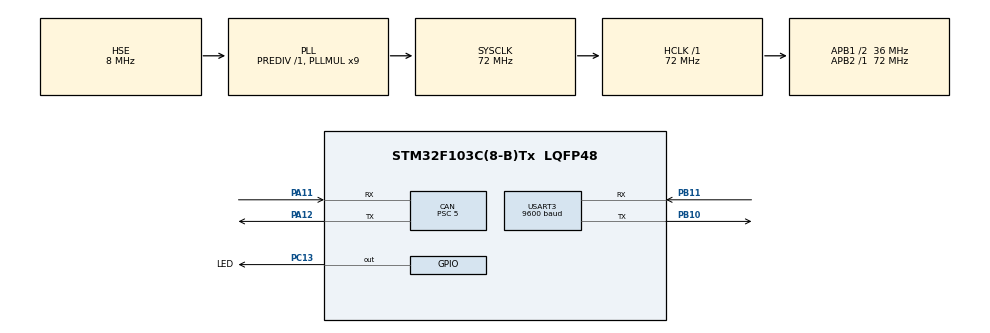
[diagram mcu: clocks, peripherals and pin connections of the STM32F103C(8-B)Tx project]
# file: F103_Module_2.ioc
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CAN.BS1=CAN_BS1_10TQ
CAN.BS2=CAN_BS2_5TQ
CAN.CalculateBaudRate=450000
CAN.CalculateTimeBit=2222
CAN.CalculateTimeQuantum=138.88888888888889
CAN.Prescaler=5
Mcu.Family=STM32F1
Mcu.Name=STM32F103C(8-B)Tx
Mcu.Package=LQFP48
NVIC.PriorityGroup=NVIC_PRIORITYGROUP_4
PA11.Mode=CAN_Activate
PA11.Signal=CAN_RX
PA12.Mode=CAN_Activate
PA12.Signal=CAN_TX
PB10.Mode=Asynchronous
PB10.Signal=USART3_TX
PB11.Mode=Asynchronous
PB11.Signal=USART3_RX
PC13-TAMPER-RTC.GPIO_Label=LED
PC13-TAMPER-RTC.Signal=GPIO_Output
PD0-OSC_IN.Mode=HSE-External-Oscillator
PD0-OSC_IN.Signal=RCC_OSC_IN
PD1-OSC_OUT.Mode=HSE-External-Oscillator
PD1-OSC_OUT.Signal=RCC_OSC_OUT
ProjectManager.HeapSize=0x200
ProjectManager.StackSize=0x400
ProjectManager.TargetToolchain=STM32CubeIDE
RCC.AHBFreq_Value=72000000
RCC.APB1CLKDivider=RCC_HCLK_DIV2
RCC.APB1Freq_Value=36000000
RCC.APB1TimFreq_Value=72000000
RCC.APB2Freq_Value=72000000
RCC.APB2TimFreq_Value=72000000
RCC.HCLKFreq_Value=72000000
RCC.PLLMUL=RCC_PLL_MUL9
RCC.PLLSourceVirtual=RCC_PLLSOURCE_HSE
RCC.SYSCLKFreq_VALUE=72000000
RCC.SYSCLKSource=RCC_SYSCLKSOURCE_PLLCLK
RCC.USBFreq_Value=72000000
USART3.BaudRate=9600
USART3.VirtualMode=VM_ASYNC
board=custom

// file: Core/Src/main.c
/* USER CODE BEGIN Header */
/**
  ******************************************************************************
  * @file           : main.c
  * @brief          : Main program body
  ******************************************************************************
  * @attention
  *
  * Copyright (c) 2024 STMicroelectronics.
  * All rights reserved.
  *
  * This software is licensed under terms that can be found in the LICENSE file
  * in the root directory of this software component.
  * If no LICENSE file comes with this software, it is provided AS-IS.
  *
  ******************************************************************************
  */
/* USER CODE END Header */
#include "main.h"

/* USER CODE BEGIN Includes */
#include <math.h>
#include<stdio.h>
#include<string.h>
#include<stdlib.h>

/* USER CODE END Includes */

CAN_HandleTypeDef hcan;

UART_HandleTypeDef huart3;

/* USER CODE BEGIN PV */
typedef struct fixedStransmission
{
	uint8_t ADDH;
	uint8_t ADDL;
	uint8_t CHAN;
	unsigned char message[];
}FixedStransmission;
FixedStransmission *init_stack(int m){
	FixedStransmission *st = (FixedStransmission *)malloc(sizeof(FixedStransmission)+m*sizeof(int));
    return st;
}
int sizedata;

uint32_t TxMailbox;

uint8_t Package8_1[8];
uint8_t Package8_2[8];
uint8_t Package8_3[8];
uint8_t Package8_4[8];
uint8_t dataReceive[8];

float Package1[8];
float Package2[8];
float Package3[8];
float Package4[8];

float temp=0.00;
int i = 0;
int gps_satallite;
int gps_speed;

/* USER CODE END PV */

void SystemClock_Config(void);
static void MX_GPIO_Init(void);
static void MX_CAN_Init(void);
static void MX_USART3_UART_Init(void);
/* USER CODE BEGIN PFP */
void sendFixedMessage( uint8_t ADDH,uint8_t ADDL, uint8_t CHAN, const void *message, const uint8_t size);
double Thermistor(uint8_t value){
 uint16_t analogValue = value*16;
 double temperature;
 temperature = log(((40950000 / analogValue) - 10000));
 temperature = 1 / (0.001129148 + (0.000234125 + (0.0000000876741 * temperature * temperature)) * temperature);
 temperature = temperature - 273.15;
 return temperature;
}
/* USER CODE END PFP */

/* USER CODE BEGIN 0 */
struct carData{
	  float voltage1;
	  float voltage2;
	  float voltage3;
	  float voltage4;
	  float voltage5;
	  float voltage6;
	  float voltage7;
	  float voltage8;
	  float voltage9;
	  float voltage10;
	  float voltage11;
	  float voltage12;
	  float voltage13;
	  float voltage14;
	  float voltage15;
	  float voltage16;
	  float voltage17;
	  float voltage18;
	  float voltage19;
	  float voltage20;
	  float totalVoltage;
	  float batteryTemp1;
	  float batteryTemp2;
	  float batteryTemp3;
	  float batteryTemp4;
	  float testTemp;
	  float motorTemp;
	  float speed;
	  float current;
	  float remainEnergy;
}data1;

CAN_RxHeaderTypeDef RxHeader[4];
CAN_TxHeaderTypeDef TxHeader[1];

/* USER CODE END 0 */

int main(void)
{

  /* MCU Configuration--------------------------------------------------------*/

  /* Reset of all peripherals, Initializes the Flash interface and the Systick. */
  HAL_Init();

  /* Configure the system clock */
  SystemClock_Config();

  /* Initialize all configured peripherals */
  MX_GPIO_Init();
  MX_CAN_Init();
  MX_USART3_UART_Init();
  /* USER CODE BEGIN 2 */
  HAL_CAN_Start(&hcan);

  TxHeader[0].DLC = 8;
  TxHeader[0].IDE = CAN_ID_EXT;
  TxHeader[0].RTR = CAN_RTR_DATA;
  TxHeader[0].ExtId = 0x12345678;

  /* USER CODE END 2 */

  /* Infinite loop */
  while (1)
  {

    /* USER CODE BEGIN 3 */

	  HAL_GPIO_WritePin(LED_GPIO_Port, LED_Pin, 1);
	  HAL_CAN_GetRxMessage(&hcan, CAN_RX_FIFO0, &RxHeader[0], dataReceive);
	  HAL_Delay(10);
	  if(RxHeader[0].ExtId == 0x0CFFFFFF){
		  HAL_GPIO_WritePin(LED_GPIO_Port, LED_Pin, 0);
		  HAL_Delay(50);
		  for(i=0;i<=7;i++){
			  Package8_1[i] = dataReceive[i];
		  }
	  }
	  HAL_CAN_GetRxMessage(&hcan, CAN_RX_FIFO0, &RxHeader[1], dataReceive);
	  HAL_Delay(10);
	  if(RxHeader[1].ExtId == 0x0DFFFFFF){
	  HAL_GPIO_WritePin(LED_GPIO_Port, LED_Pin, 0);
		  for(i=0;i<=7;i++){
			  Package8_2[i] = dataReceive[i];
		  }
	  }
	  HAL_CAN_GetRxMessage(&hcan, CAN_RX_FIFO0, &RxHeader[2], dataReceive);
	  HAL_Delay(10);
	  if(RxHeader[2].ExtId == 0x0EFFFFFF){
	  HAL_GPIO_WritePin(LED_GPIO_Port, LED_Pin, 0);
	  //HAL_Delay(50);
		  for(i=0;i<=7;i++){
			  Package8_3[i] = dataReceive[i];
		  }
	  }
	  HAL_CAN_GetRxMessage(&hcan, CAN_RX_FIFO0, &RxHeader[3], dataReceive);
	  HAL_Delay(10);
	  if(RxHeader[3].ExtId == 0x0FFFFFFF){
	  HAL_GPIO_WritePin(LED_GPIO_Port, LED_Pin, 0);
	  //HAL_Delay(50);
		  for(i=0;i<=7;i++){
			  Package8_4[i] = dataReceive[i];
		  }
	  }
	  //temp = Thermistor(2100);

	  for(i=0;i<=7;i++){
	  		  Package1[i] = Thermistor(Package8_1[i]);
	  		  Package2[i] = Thermistor(Package8_2[i]);
	  		  Package3[i] = Thermistor(Package8_3[i]);

	  		  //Package4[i] = Thermistor(Package8_4[i]*16);
	  	  }
	  	  Package3[4] = Package8_3[4]*84/255;
	  	  Package4[0] = Thermistor(Package8_4[0]);
	  	  Package4[1] = Thermistor(Package8_4[1]);
	  	  Package4[2] = Thermistor(Package8_4[2]);
	  	  Package4[3] = Package8_4[3];
	  	  Package4[4] = Thermistor(Package8_4[4]);
	  	  Package4[5] = Package8_4[5];

	  	  data1.voltage1 = Package1[0];
		  data1.voltage2 = Package1[1];
		  data1.voltage3 = Package1[2];
		  data1.voltage4 = Package1[3];
		  data1.voltage5 = Package1[4];
		  data1.voltage6 = Package1[5];
		  data1.voltage7 = Package1[6];
		  data1.voltage8 = Package1[7];
		  data1.voltage9 = Package2[0];
		  data1.voltage10 = Package2[1];
		  data1.voltage11 = Package2[2];
		  data1.voltage12 = Package2[3];
		  data1.voltage13 = Package2[4];
		  data1.voltage14 = Package2[5];
		  data1.voltage15 = Package2[6];
		  data1.voltage16 = Package2[7];
		  data1.voltage17 = Package3[0];
		  data1.voltage18 = Package3[1];
		  data1.voltage19 = Package3[2];
		  data1.voltage20 = Package3[3];
		  data1.totalVoltage = Package3[4];
	      data1.batteryTemp1 = Package3[5];
		  data1.batteryTemp2 = Package3[6];
		  data1.batteryTemp3 = Package3[7];
		  data1.batteryTemp4 = Package4[0];
		  data1.testTemp = Package4[1];
		  data1.motorTemp = Package4[2];
		  data1.speed = Package4[3];
		  data1.current = Package4[4];
		  data1.remainEnergy = Package4[5];

	  gps_satallite = gps_satallite;

	  sizedata = sizeof(data1);
	  sendFixedMessage(0, 2, 25, &data1, sizedata);
  }
  /* USER CODE END 3 */
}

void SystemClock_Config(void)
{
  RCC_OscInitTypeDef RCC_OscInitStruct = {0};
  RCC_ClkInitTypeDef RCC_ClkInitStruct = {0};

  /** Initializes the RCC Oscillators according to the specified parameters
  * in the RCC_OscInitTypeDef structure.
  */
  RCC_OscInitStruct.OscillatorType = RCC_OSCILLATORTYPE_HSE;
  RCC_OscInitStruct.HSEState = RCC_HSE_ON;
  RCC_OscInitStruct.HSEPredivValue = RCC_HSE_PREDIV_DIV1;
  RCC_OscInitStruct.HSIState = RCC_HSI_ON;
  RCC_OscInitStruct.PLL.PLLState = RCC_PLL_ON;
  RCC_OscInitStruct.PLL.PLLSource = RCC_PLLSOURCE_HSE;
  RCC_OscInitStruct.PLL.PLLMUL = RCC_PLL_MUL9;
  if (HAL_RCC_OscConfig(&RCC_OscInitStruct) != HAL_OK)
  {
    Error_Handler();
  }

  /** Initializes the CPU, AHB and APB buses clocks
  */
  RCC_ClkInitStruct.ClockType = RCC_CLOCKTYPE_HCLK|RCC_CLOCKTYPE_SYSCLK
                              |RCC_CLOCKTYPE_PCLK1|RCC_CLOCKTYPE_PCLK2;
  RCC_ClkInitStruct.SYSCLKSource = RCC_SYSCLKSOURCE_PLLCLK;
  RCC_ClkInitStruct.AHBCLKDivider = RCC_SYSCLK_DIV1;
  RCC_ClkInitStruct.APB1CLKDivider = RCC_HCLK_DIV2;
  RCC_ClkInitStruct.APB2CLKDivider = RCC_HCLK_DIV1;

  if (HAL_RCC_ClockConfig(&RCC_ClkInitStruct, FLASH_LATENCY_2) != HAL_OK)
  {
    Error_Handler();
  }
}

static void MX_CAN_Init(void)
{

  hcan.Instance = CAN1;
  hcan.Init.Prescaler = 5;
  hcan.Init.Mode = CAN_MODE_NORMAL;
  hcan.Init.SyncJumpWidth = CAN_SJW_1TQ;
  hcan.Init.TimeSeg1 = CAN_BS1_10TQ;
  hcan.Init.TimeSeg2 = CAN_BS2_5TQ;
  hcan.Init.TimeTriggeredMode = DISABLE;
  hcan.Init.AutoBusOff = DISABLE;
  hcan.Init.AutoWakeUp = DISABLE;
  hcan.Init.AutoRetransmission = DISABLE;
  hcan.Init.ReceiveFifoLocked = DISABLE;
  hcan.Init.TransmitFifoPriority = DISABLE;
  if (HAL_CAN_Init(&hcan) != HAL_OK)
  {
    Error_Handler();
  }
  /* USER CODE BEGIN CAN_Init 2 */
  CAN_FilterTypeDef canfilterconfig;
  canfilterconfig.FilterActivation = CAN_FILTER_ENABLE;
  canfilterconfig.FilterBank = 10;  // which filter bank to use from the assigned ones
  canfilterconfig.FilterFIFOAssignment = CAN_FILTER_FIFO0;
  canfilterconfig.FilterIdHigh = 0x000<<5;
  canfilterconfig.FilterIdLow = 0;
  canfilterconfig.FilterMaskIdHigh = 0x000<<5;
  canfilterconfig.FilterMaskIdLow = 0x0000;
  canfilterconfig.FilterMode = CAN_FILTERMODE_IDMASK;
  canfilterconfig.FilterScale = CAN_FILTERSCALE_32BIT;
  canfilterconfig.SlaveStartFilterBank = 13;  // how many filters to assign to the CAN1 (master can)
  HAL_CAN_ConfigFilter(&hcan, &canfilterconfig);

  /* USER CODE END CAN_Init 2 */

}

static void MX_USART3_UART_Init(void)
{

  huart3.Instance = USART3;
  huart3.Init.BaudRate = 9600;
  huart3.Init.WordLength = UART_WORDLENGTH_8B;
  huart3.Init.StopBits = UART_STOPBITS_1;
  huart3.Init.Parity = UART_PARITY_NONE;
  huart3.Init.Mode = UART_MODE_TX_RX;
  huart3.Init.HwFlowCtl = UART_HWCONTROL_NONE;
  huart3.Init.OverSampling = UART_OVERSAMPLING_16;
  if (HAL_UART_Init(&huart3) != HAL_OK)
  {
    Error_Handler();
  }

}

static void MX_GPIO_Init(void)
{
  GPIO_InitTypeDef GPIO_InitStruct = {0};

  /* GPIO Ports Clock Enable */
  __HAL_RCC_GPIOC_CLK_ENABLE();
  __HAL_RCC_GPIOD_CLK_ENABLE();
  __HAL_RCC_GPIOB_CLK_ENABLE();
  __HAL_RCC_GPIOA_CLK_ENABLE();

  /*Configure GPIO pin Output Level */
  HAL_GPIO_WritePin(LED_GPIO_Port, LED_Pin, GPIO_PIN_RESET);

  /*Configure GPIO pin : LED_Pin */
  GPIO_InitStruct.Pin = LED_Pin;
  GPIO_InitStruct.Mode = GPIO_MODE_OUTPUT_PP;
  GPIO_InitStruct.Pull = GPIO_NOPULL;
  GPIO_InitStruct.Speed = GPIO_SPEED_FREQ_LOW;
  HAL_GPIO_Init(LED_GPIO_Port, &GPIO_InitStruct);

}

/* USER CODE BEGIN 4 */
void sendFixedMessage( uint8_t ADDH,uint8_t ADDL, uint8_t CHAN, const void *message, const uint8_t size){

	FixedStransmission *fixedStransmission = init_stack(size);

	fixedStransmission->ADDH = ADDH;
	fixedStransmission->ADDL = ADDL;
	fixedStransmission->CHAN = CHAN;

	memcpy(fixedStransmission->message,(unsigned char*)message,size);

	HAL_UART_Transmit(&huart3, (uint8_t *)fixedStransmission, size+3, 1000);
	HAL_Delay(200);

	free(fixedStransmission);
}

/* USER CODE END 4 */

void Error_Handler(void)
{
  __disable_irq();
  while (1)
  {
  }
}
